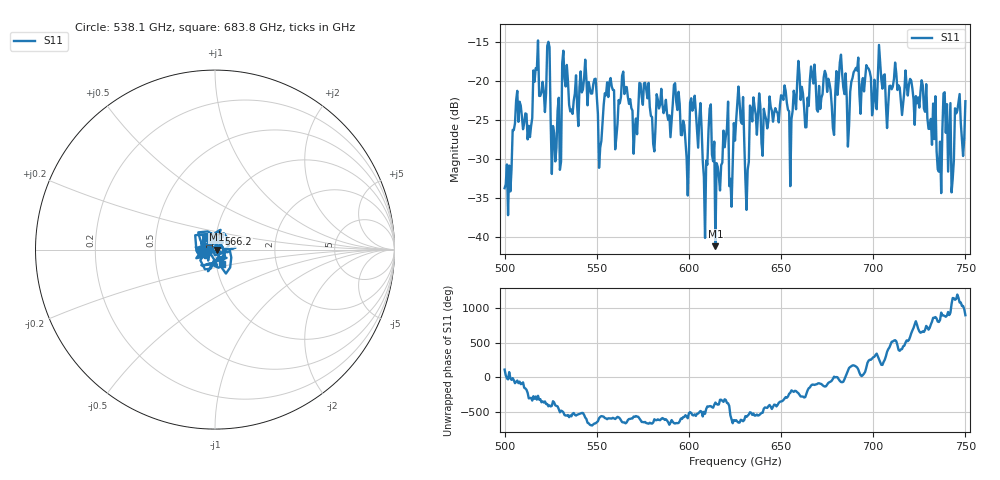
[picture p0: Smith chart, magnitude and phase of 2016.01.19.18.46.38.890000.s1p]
!Created with skrf (http://scikit-rf.org).
# GHz S RI R 50.0
!freq ReS11 ImS11
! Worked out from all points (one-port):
!   401 points, 500 GHz to 750 GHz, reference 50 ohm
!   lowest |S11| = -41.2 dB at 614.4 GHz (marker M1), VSWR 1.02, Z = 50.9 - j0.0115 ohm
!   |S11| at or under -10 dB: start of sweep to end of sweep
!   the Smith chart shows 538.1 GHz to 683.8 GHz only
!   S11 on the Smith chart (normalised r, x): 538.1 GHz: 0.85, -0.01; 566.2 GHz: 1.03, +0.18; 683.8 GHz: 1.07, -0.17
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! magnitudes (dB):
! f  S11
! 500 GHz  -33.7
! 507.5 GHz  -25.3
! 513.8 GHz  -27.2
! 516.9 GHz  -18.4
! 523.8 GHz  -15.0
! 526.9 GHz  -26.7
! 531.2 GHz  -17.8
! 538.1 GHz  -21.6
! 548.8 GHz  -19.8
! 551.9 GHz  -28.5
! 562.5 GHz  -22.9
! 566.2 GHz  -20.8
! 593.8 GHz  -23.7
! 598.8 GHz  -29.9
! 601.9 GHz  -23.8
! 614.4 GHz  -41.2
! 625 GHz  -27.7
! 628.1 GHz  -25.2
! 631.2 GHz  -36.5
! 634.4 GHz  -25.2
! 656.2 GHz  -23.9
! 683.8 GHz  -20.8
! 687.5 GHz  -21.4
! 718.8 GHz  -21.9
! 735.6 GHz  -31.6
! 738.8 GHz  -21.5
! 741.9 GHz  -22.9
! 750 GHz  -22.6
